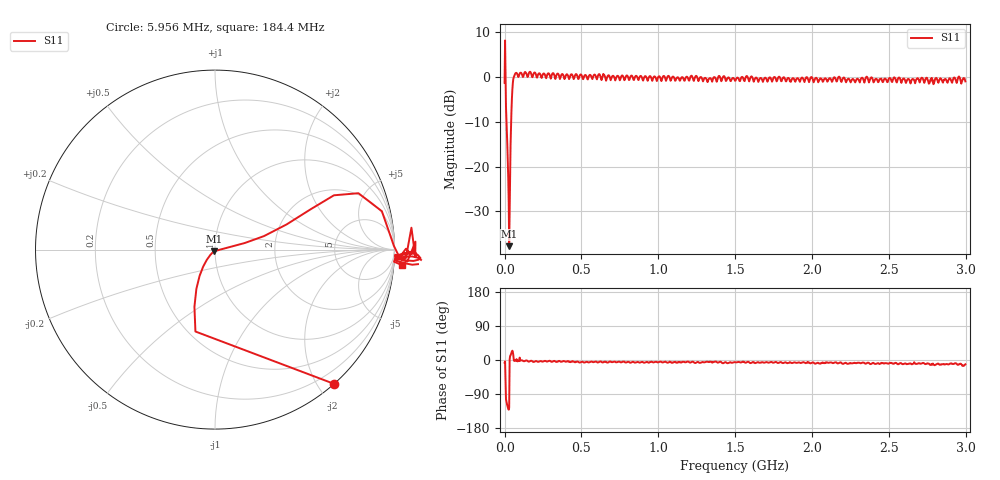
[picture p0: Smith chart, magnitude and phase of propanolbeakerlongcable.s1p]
# HZ S RI R 50
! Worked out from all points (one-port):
!   1009 points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, 10 kHz to 2.997 GHz, reference 50 ohm
!   lowest |S11| = -37.8 dB at 29.74 MHz (marker M1), VSWR 1.03, Z = 49.2 - j1.02 ohm
!   |S11| at or under -10 dB: 12.5 MHz to 42.45 MHz (29.95 MHz wide, 109 % of centre)
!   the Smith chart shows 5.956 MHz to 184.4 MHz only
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10000  0.8587 -0.1064
8929693  -0.109 -0.4564
1.784939e7  -0.086 -0.1466
2.082262e7  -0.0658 -0.0944
2.379585e7  -0.0454 -0.0566
2.974231e7  -0.00756 -0.0104
3.8662e7  0.1668 0.037
4.460846e7  0.3993 0.1404
5.055493e7  0.6627 0.3026
5.352816e7  0.7991 0.3141
5.947462e7  0.9964 0.0215
6.839431e7  1.09 -0.0238
7.731401e7  1.117 0.0444
1.992165e8  1.115 -0.0678
3.746371e8  1.083 -0.0748
7.492642e8  0.9198 -0.081
1.123891e9  0.9886 -0.1201
1.227954e9  0.9242 -0.0797
1.498518e9  0.908 -0.0933
1.873146e9  0.964 -0.131
2.164522e9  0.9252 -0.1432
2.247773e9  0.8889 -0.1371
2.345889e9  0.9351 -0.158
2.6224e9  0.9349 -0.1765
2.71457e9  0.9747 -0.1505
2.791874e9  0.8268 -0.1852
2.922696e9  0.9741 -0.1753
2.997027e9  0.8802 -0.1769
